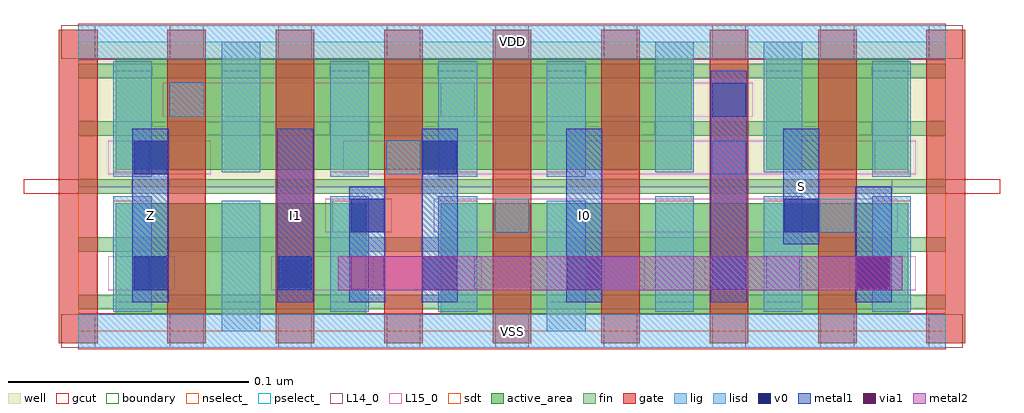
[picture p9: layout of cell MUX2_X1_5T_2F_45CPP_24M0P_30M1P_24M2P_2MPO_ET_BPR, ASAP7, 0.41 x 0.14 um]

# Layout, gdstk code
import gdstk
lib = gdstk.Library(unit=1e-6, precision=2.5e-10)
def R(c, l, rs):  # rectangles x0, y0, x1, y1
    for r in rs: c.add(gdstk.rectangle(r[:2], r[2:], *l))
def A(c, l, x, y, w, h, nx, ny, dx, dy):  # array of equal rectangles
    R(c, l, [(x+i*dx, y+j*dy, x+i*dx+w, y+j*dy+h) for i in range(nx) for j in range(ny)])
well = (1, 0)
fin = (2, 0)
gate = (7, 0)
gcut = (10, 0)
active_area = (11, 0)
nselect_ = (12, 0)
pselect_ = (13, 0)
L14_0 = (14, 0)
L15_0 = (15, 0)
lig = (16, 0)
lisd = (17, 0)
v0 = (18, 0)
metal1 = (19, 0)
metal2 = (20, 0)
via1 = (21, 0)
sdt = (88, 0)
boundary = (100, 0)

mux2_x1_5t_2f_45cpp_24m0 = lib.new_cell('MUX2_X1_5T_2F_45CPP_24M0P_30M1P_24M2P_2MPO_ET_BPR')
R(mux2_x1_5t_2f_45cpp_24m0, well, [(0,0.06,0.36,0.12)])
A(mux2_x1_5t_2f_45cpp_24m0, fin, 0, 0.009, 0.36, 0.006, 1, 5, 0, 0.024)
A(mux2_x1_5t_2f_45cpp_24m0, gate, -0.008, -0.005, 0.016, 0.13, 9, 1, 0.045, 0)
R(mux2_x1_5t_2f_45cpp_24m0, gcut, [(0,-0.0075,0.36,0.0075), (-0.0225,0.057,0.0225,0.063), (0.3375,0.057,0.3825,0.063), (0,0.1125,0.36,0.1275)])
A(mux2_x1_5t_2f_45cpp_24m0, active_area, 0.1505, 0.007, 0.059, 0.046, 4, 1, 0.045, 0)
A(mux2_x1_5t_2f_45cpp_24m0, active_area, 0.0155, 0.067, 0.059, 0.046, 5, 1, 0.045, 0)
R(mux2_x1_5t_2f_45cpp_24m0, active_area, [(0.0155,0.007,0.0745,0.053), (0.0605,0.007,0.1195,0.053), (0.2855,0.067,0.3445,0.113)])
R(mux2_x1_5t_2f_45cpp_24m0, nselect_, [(0,0,0.36,0.06)])
R(mux2_x1_5t_2f_45cpp_24m0, pselect_, [(0,0.06,0.36,0.12)])
A(mux2_x1_5t_2f_45cpp_24m0, L14_0, -0.007, -0.007, 0.014, 0.014, 9, 2, 0.045, 0.12)
A(mux2_x1_5t_2f_45cpp_24m0, L14_0, 0.0155, 0.017, 0.014, 0.014, 5, 1, 0.0675, 0)
R(mux2_x1_5t_2f_45cpp_24m0, L14_0, [(0.3305,0.017,0.3445,0.031), (0.1055,0.041,0.1195,0.055), (0.173,0.041,0.187,0.055), (0.308,0.041,0.322,0.055), (0.0155,0.065,0.0295,0.079), (0.128,0.065,0.142,0.079), (0.263,0.065,0.277,0.079), (0.3305,0.065,0.3445,0.079), (0.038,0.089,0.052,0.103), (0.1505,0.089,0.1645,0.103)])
R(mux2_x1_5t_2f_45cpp_24m0, L15_0, [(0,-0.007,0.36,0.007), (0.0125,0.017,0.04,0.031), (0.08,0.017,0.1225,0.031), (0.14,0.017,0.1675,0.031), (0.2,0.017,0.235,0.031), (0.26,0.017,0.3025,0.031), (0.32,0.017,0.3475,0.031), (0.1025,0.041,0.13,0.055), (0.1475,0.041,0.34,0.055), (0.0125,0.065,0.055,0.079), (0.11,0.065,0.3475,0.079), (0.035,0.089,0.28,0.103), (0,0.113,0.36,0.127)])
R(mux2_x1_5t_2f_45cpp_24m0, lig, [(0,-0.007,0.36,0.007), (0.083,0.017,0.097,0.031), (0.218,0.017,0.232,0.031), (0.173,0.041,0.187,0.055), (0.308,0.041,0.322,0.055), (0.128,0.065,0.142,0.079), (0.263,0.065,0.277,0.079), (0.038,0.089,0.052,0.103), (0,0.113,0.36,0.127)])
A(mux2_x1_5t_2f_45cpp_24m0, lisd, 0.2395, 0.008, 0.016, 0.048, 3, 1, 0.045, 0)
A(mux2_x1_5t_2f_45cpp_24m0, lisd, 0.1045, 0.064, 0.016, 0.048, 3, 1, 0.045, 0)
R(mux2_x1_5t_2f_45cpp_24m0, lisd, [(0.0595,0,0.0755,0.054), (0.1945,0,0.2105,0.054), (0.0145,0.008,0.0305,0.056), (0.1045,0.008,0.1205,0.056), (0.1495,0.008,0.1655,0.056), (0.0145,0.064,0.0305,0.112), (0.3295,0.064,0.3455,0.112), (0.0595,0.066,0.0755,0.12), (0.2395,0.066,0.2555,0.12), (0.2845,0.066,0.3005,0.12)])
A(mux2_x1_5t_2f_45cpp_24m0, v0, 0.023, 0.017, 0.014, 0.014, 6, 1, 0.06, 0)
R(mux2_x1_5t_2f_45cpp_24m0, v0, [(0.113,0.041,0.127,0.055), (0.293,0.041,0.307,0.055), (0.023,0.065,0.037,0.079), (0.143,0.065,0.157,0.079), (0.263,0.089,0.277,0.103)])
A(mux2_x1_5t_2f_45cpp_24m0, metal1, 0.0225, 0.012, 0.015, 0.072, 4, 1, 0.06, 0)
R(mux2_x1_5t_2f_45cpp_24m0, metal1, [(0.1125,0.012,0.1275,0.06), (0.2625,0.012,0.2775,0.108), (0.3225,0.012,0.3375,0.06), (0.2925,0.036,0.3075,0.084)])
R(mux2_x1_5t_2f_45cpp_24m0, metal2, [(0.108,0.017,0.342,0.031)])
R(mux2_x1_5t_2f_45cpp_24m0, via1, [(0.113,0.017,0.127,0.031), (0.323,0.017,0.337,0.031)])
A(mux2_x1_5t_2f_45cpp_24m0, sdt, 0.0145, 0.012, 0.016, 0.042, 8, 2, 0.045, 0.054)
R(mux2_x1_5t_2f_45cpp_24m0, boundary, [(0,0,0.36,0.12)])
mux2_x1_5t_2f_45cpp_24m0.add(gdstk.Label('Z', (0.03,0.048), layer=19, texttype=251))
mux2_x1_5t_2f_45cpp_24m0.add(gdstk.Label('I0', (0.21,0.048), layer=19, texttype=251))
mux2_x1_5t_2f_45cpp_24m0.add(gdstk.Label('I1', (0.09,0.048), layer=19, texttype=251))
mux2_x1_5t_2f_45cpp_24m0.add(gdstk.Label('S', (0.3,0.06), layer=19, texttype=251))
mux2_x1_5t_2f_45cpp_24m0.add(gdstk.Label('VDD', (0.18,0.12), layer=15, texttype=251))
mux2_x1_5t_2f_45cpp_24m0.add(gdstk.Label('VSS', (0.18,0), layer=15, texttype=251))
mux2_x1_5t_2f_45cpp_24m0.add(gdstk.Label('VDD', (0.18,0.12), layer=1, texttype=251))
mux2_x1_5t_2f_45cpp_24m0.add(gdstk.Label('VSS', (0.18,0), layer=3, texttype=251))

lib.write_gds('MUX2_X1_5T_2F_45CPP_24M0P_30M1P_24M2P_2MPO_ET_BPR.gds')
